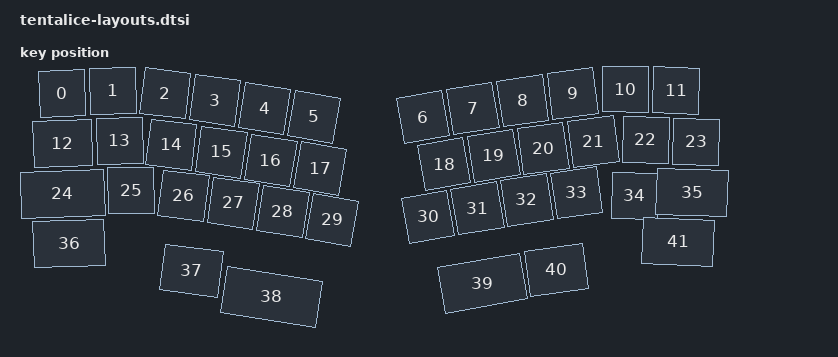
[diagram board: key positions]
#include <physical_layouts.dtsi>

/ {
    tentalice_default_layout: tentalice_default_layout {
        compatible = "zmk,physical-layout";
        display-name = "Tentalice";
        transform = <&default_transform>;
        kscan = <&kscan0>;

        keys  //                     w   h    x    y     rot    rx    ry
            = <&key_physical_attrs 100 100   40   45  (-200)   160    85>
            , <&key_physical_attrs 100 100  140   45  (-100)     0  (-5)>
            , <&key_physical_attrs 100 100  212   45     700   265   375>
            , <&key_physical_attrs 100 100  310   45     800   265   360>
            , <&key_physical_attrs 100 100  410   45     900   275   335>
            , <&key_physical_attrs 100 100  510   45    1000   295   315>
            , <&key_physical_attrs 100 100  800   45 (-1000)  1115   335>
            , <&key_physical_attrs 100 100  900   45  (-900)  1135   355>
            , <&key_physical_attrs 100 100 1000   45  (-800)  1150   380>
            , <&key_physical_attrs 100 100 1100   45  (-700)  1150   410>
            , <&key_physical_attrs 100 100 1165   20     100   130   195>
            , <&key_physical_attrs 100 100 1270    0     200   140    15>
            , <&key_physical_attrs 125 100   25  145  (-200)   160    90>
            , <&key_physical_attrs 100 100  155  145  (-100)    65   175>
            , <&key_physical_attrs 100 100  240  145     700   260   350>
            , <&key_physical_attrs 100 100  340  145     800   260   335>
            , <&key_physical_attrs 100 100  440  145     900   270   325>
            , <&key_physical_attrs 100 100  540  145    1000   300   315>
            , <&key_physical_attrs 100 100  825  145 (-1000)  1115   335>
            , <&key_physical_attrs 100 100  925  145  (-900)  1135   345>
            , <&key_physical_attrs 100 100 1025  145  (-800)  1150   360>
            , <&key_physical_attrs 100 100 1125  145  (-700)  1150   375>
            , <&key_physical_attrs 100 100 1210  125     100   370    45>
            , <&key_physical_attrs 100 100 1310  100     200    90   120>
            , <&key_physical_attrs 175 100    0  245  (-200)   160   195>
            , <&key_physical_attrs 100 100  175  245  (-100)     0    85>
            , <&key_physical_attrs 100 100  275  245     700   275   365>
            , <&key_physical_attrs 100 100  373  245     800   275   375>
            , <&key_physical_attrs 100 100  473  245     900   285   370>
            , <&key_physical_attrs 100 100  573  245    1000   310   365>
            , <&key_physical_attrs 100 100  775  245 (-1000)  1105   335>
            , <&key_physical_attrs 100 100  875  245 (-1000)  1105   335>
            , <&key_physical_attrs 100 100  975  245  (-900)  1120   335>
            , <&key_physical_attrs 100 100 1075  245  (-800)  1130   335>
            , <&key_physical_attrs 100 100 1190  230     100     0    25>
            , <&key_physical_attrs 150 100 1285  200     200    50     0>
            , <&key_physical_attrs 150 100   15  345  (-200)   160  (-5)>
            , <&key_physical_attrs 125 100  265  360     700     0   610>
            , <&key_physical_attrs 200 100  413  350     900 (-150)   425>
            , <&key_physical_attrs 175 100  825  350 (-1000)  1360   335>
            , <&key_physical_attrs 125 100 1000  360  (-800)  1360   310>
            , <&key_physical_attrs 150 100 1255  300     200    50   155>
            ;

    };
        
};
